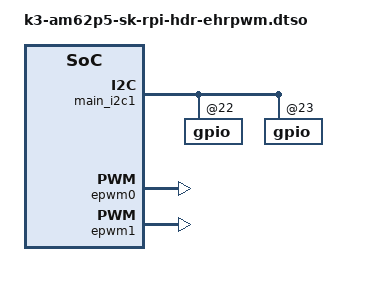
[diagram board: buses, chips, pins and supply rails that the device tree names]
// SPDX-License-Identifier: GPL-2.0
/**
 * DT Overlay for enabling RPi header with GPIOs and ePWMs on AM62P-SK
 *
 * Copyright (C) 2023 Texas Instruments Incorporated - https://www.ti.com/
 */

/dts-v1/;
/plugin/;

#include <dt-bindings/gpio/gpio.h>
#include "k3-pinctrl.h"

&main_pmx0 {
	rpi_header_gpio0_pins_default: rpi-header-gpio0-pins-default {
		pinctrl-single,pins = <
			AM62PX_IOPAD(0x0038, PIN_INPUT, 7) /* (L23) OSPI0_CSn3.GPIO0_14 */
			AM62PX_IOPAD(0x0088, PIN_INPUT, 7) /* (R24) GPMC0_OEn_REn.GPIO0_33 */
			AM62PX_IOPAD(0x0094, PIN_INPUT, 7) /* (T24) GPMC0_BE1n.GPIO0_36 */
			AM62PX_IOPAD(0x009c, PIN_INPUT, 7) /* (AD24) GPMC0_WAIT1.GPIO0_38 */
			AM62PX_IOPAD(0x00a0, PIN_INPUT, 7) /* (P24) GPMC0_WPn.GPIO0_39 */
			AM62PX_IOPAD(0x00a4, PIN_INPUT, 7) /* (P25) GPMC0_DIR.GPIO0_40 */
			AM62PX_IOPAD(0x00a8, PIN_INPUT, 7) /* (T23) GPMC0_CSn0.GPIO0_41 */
			AM62PX_IOPAD(0x00ac, PIN_INPUT, 7) /* (U23) GPMC0_CSn1.GPIO0_42 */
		>;
	};

	rpi_header_gpio1_pins_default: rpi-header-gpio1-pins-default {
		pinctrl-single,pins = <
			AM62PX_IOPAD(0x01a4, PIN_INPUT, 7) /* (F24) MCASP0_ACLKX.GPIO1_11 */
			AM62PX_IOPAD(0x01bc, PIN_INPUT, 7) /* (B21) SPI0_CLK.GPIO1_17 */
			AM62PX_IOPAD(0x01c0, PIN_INPUT, 7) /* (B20) SPI0_D0.GPIO1_18 */
			AM62PX_IOPAD(0x01c4, PIN_INPUT, 7) /* (C21) SPI0_D1.GPIO1_19 */
			AM62PX_IOPAD(0x01d0, PIN_INPUT, 7) /* (A23) UART0_CTSn.GPIO1_22 */
			AM62PX_IOPAD(0x01d8, PIN_INPUT, 7) /* (B23) MCAN0_TX.GPIO1_24 */
			AM62PX_IOPAD(0x01dc, PIN_INPUT, 7) /* (F20) MCAN0_RX.GPIO1_25 */
		>;
	};

	rpi_header_ehrpwm0_pins_default: rpi-header-ehrpwm0-pins-default {
		pinctrl-single,pins = <
			AM62PX_IOPAD(0x01b4, PIN_OUTPUT, 2) /* (D20) SPI0_CS0.EHRPWM0_A */
			AM62PX_IOPAD(0x01b8, PIN_OUTPUT, 2) /* (E20) SPI0_CS1.EHRPWM0_B */
		>;
	};

	rpi_header_ehrpwm1_pins_default: rpi-header-ehrpwm1-pins-default {
		pinctrl-single,pins = <
			AM62PX_IOPAD(0x019c, PIN_OUTPUT, 6) /* (E24) MCASP0_AXR1.EHRPWM1_A */
			AM62PX_IOPAD(0x01a0, PIN_OUTPUT, 6) /* (F23) MCASP0_AXR0.EHRPWM1_B */
		>;
	};
};

&main_i2c1 {
	gpio@22 {
		p02-hog {
			/* P02 - UART1_FET_SEL */
			gpio-hog;
			gpios = <2 GPIO_ACTIVE_HIGH>;
			output-low;
			line-name = "UART1_FET_SEL";
		};

		p05-hog {
			/* P05 - EXP_PS_3V3_EN */
			gpio-hog;
			gpios = <5 GPIO_ACTIVE_HIGH>;
			output-high;
			line-name = "EXP_PS_3V3_EN";
		};
	};

	gpio@23 {
		p01-hog {
			/* P01 - EXP_PS_5V0_EN */
			gpio-hog;
			gpios = <1 GPIO_ACTIVE_HIGH>;
			output-high;
			line-name = "EXP_PS_5V0_EN";
		};
	};
};


//&dss0 {
//	/* Conflict with GPIO0_38 */
//	status = "disabled";
//};

&epwm0 {
	status = "okay";
	pinctrl-names = "default";
	pinctrl-0 = <&rpi_header_ehrpwm0_pins_default>;
};

&epwm1 {
	status = "okay";
	pinctrl-names = "default";
	pinctrl-0 = <&rpi_header_ehrpwm1_pins_default>;
};

&main_gpio0 {
	status = "okay";
	pinctrl-names = "default";
	pinctrl-0 = <&rpi_header_gpio0_pins_default>;
};

&main_gpio1 {
	status = "okay";
	pinctrl-names = "default";
	pinctrl-0 = <&rpi_header_gpio1_pins_default>;
};
